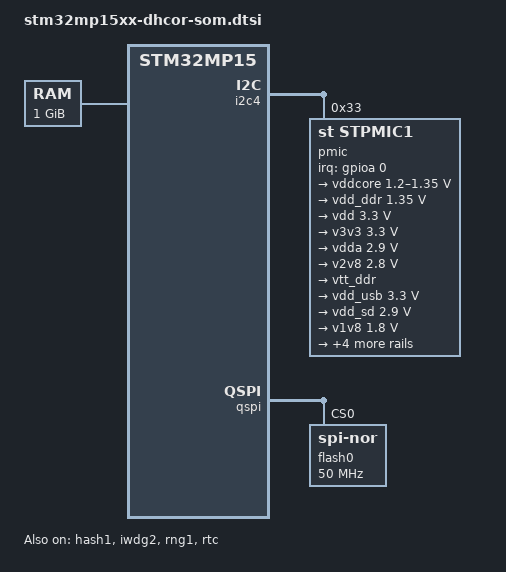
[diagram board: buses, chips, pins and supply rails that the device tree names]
// SPDX-License-Identifier: GPL-2.0 OR BSD-3-Clause
/*
 * Copyright (C) Linaro Ltd 2019 - All Rights Reserved
 * Author: Manivannan Sadhasivam <manivannan.sadhasivam@linaro.org>
 * Copyright (C) 2020 Marek Vasut <marex@denx.de>
 * Copyright (C) 2022 DH electronics GmbH
 * Copyright (C) 2023-2024, STMicroelectronics - All Rights Reserved
 */

#include "stm32mp15-pinctrl.dtsi"
#include "stm32mp15xxaa-pinctrl.dtsi"
#include <dt-bindings/clock/stm32mp1-clksrc.h>
#include "stm32mp15-ddr3-dhsom-2x4Gb-1066-binG.dtsi"

/ {
	memory@c0000000 {
		device_type = "memory";
		reg = <0xc0000000 0x40000000>;
	};
};

&cpu0 {
	cpu-supply = <&vddcore>;
};

&cpu1 {
	cpu-supply = <&vddcore>;
};

&hash1 {
	status = "okay";
};

&i2c4 {
	pinctrl-names = "default";
	pinctrl-0 = <&i2c4_pins_a>;
	i2c-scl-rising-time-ns = <185>;
	i2c-scl-falling-time-ns = <20>;
	status = "okay";

	pmic: stpmic@33 {
		compatible = "st,stpmic1";
		reg = <0x33>;
		interrupts-extended = <&gpioa 0 IRQ_TYPE_EDGE_FALLING>;
		interrupt-controller;
		#interrupt-cells = <2>;
		status = "okay";

		regulators {
			compatible = "st,stpmic1-regulators";
			ldo1-supply = <&v3v3>;
			ldo2-supply = <&v3v3>;
			ldo3-supply = <&vdd_ddr>;
			ldo5-supply = <&v3v3>;
			ldo6-supply = <&v3v3>;
			pwr_sw1-supply = <&bst_out>;
			pwr_sw2-supply = <&bst_out>;

			vddcore: buck1 {
				regulator-name = "vddcore";
				regulator-min-microvolt = <1200000>;
				regulator-max-microvolt = <1350000>;
				regulator-always-on;
				regulator-initial-mode = <0>;
				regulator-over-current-protection;
			};

			vdd_ddr: buck2 {
				regulator-name = "vdd_ddr";
				regulator-min-microvolt = <1350000>;
				regulator-max-microvolt = <1350000>;
				regulator-always-on;
				regulator-initial-mode = <0>;
				regulator-over-current-protection;
			};

			vdd: buck3 {
				regulator-name = "vdd";
				regulator-min-microvolt = <3300000>;
				regulator-max-microvolt = <3300000>;
				regulator-always-on;
				regulator-initial-mode = <0>;
				regulator-over-current-protection;
			};

			v3v3: buck4 {
				regulator-name = "v3v3";
				regulator-min-microvolt = <3300000>;
				regulator-max-microvolt = <3300000>;
				regulator-always-on;
				regulator-over-current-protection;
				regulator-initial-mode = <0>;
			};

			vdda: ldo1 {
				regulator-name = "vdda";
				regulator-min-microvolt = <2900000>;
				regulator-max-microvolt = <2900000>;
			};

			v2v8: ldo2 {
				regulator-name = "v2v8";
				regulator-min-microvolt = <2800000>;
				regulator-max-microvolt = <2800000>;
			};

			vtt_ddr: ldo3 {
				regulator-name = "vtt_ddr";
				regulator-always-on;
				regulator-over-current-protection;
				st,regulator-sink-source;
			};

			vdd_usb: ldo4 {
				regulator-name = "vdd_usb";
				regulator-min-microvolt = <3300000>;
				regulator-max-microvolt = <3300000>;
			};

			vdd_sd: ldo5 {
				regulator-name = "vdd_sd";
				regulator-min-microvolt = <2900000>;
				regulator-max-microvolt = <2900000>;
				regulator-boot-on;
			};

			v1v8: ldo6 {
				regulator-name = "v1v8";
				regulator-min-microvolt = <1800000>;
				regulator-max-microvolt = <1800000>;
				regulator-enable-ramp-delay = <300000>;
			};

			vref_ddr: vref_ddr {
				regulator-name = "vref_ddr";
				regulator-always-on;
			};

			bst_out: boost {
				regulator-name = "bst_out";
			};

			vbus_otg: pwr_sw1 {
				regulator-name = "vbus_otg";
				regulator-active-discharge = <1>;
			};

			vbus_sw: pwr_sw2 {
				regulator-name = "vbus_sw";
				regulator-active-discharge = <1>;
			};
		};
	};
};

&iwdg2 {
	timeout-sec = <32>;
	status = "okay";
};

&pwr_regulators {
	vdd-supply = <&vdd>;
	vdd_3v3_usbfs-supply = <&vdd_usb>;
};

&qspi {
	pinctrl-names = "default";
	pinctrl-0 = <&qspi_clk_pins_a
		     &qspi_bk1_pins_a
		     &qspi_cs1_pins_a>;
	reg = <0x58003000 0x1000>, <0x70000000 0x200000>;
	#address-cells = <1>;
	#size-cells = <0>;
	status = "okay";

	flash0: flash@0 {
		compatible = "jedec,spi-nor";
		reg = <0>;
		spi-rx-bus-width = <4>;
		spi-max-frequency = <50000000>;
		#address-cells = <1>;
		#size-cells = <1>;
	};
};

&rcc {
	st,clksrc = <
		CLK_MPU_PLL1P
		CLK_AXI_PLL2P
		CLK_MCU_PLL3P
		CLK_RTC_LSE
		CLK_MCO1_DISABLED
		CLK_MCO2_DISABLED
		CLK_CKPER_HSE
		CLK_FMC_ACLK
		CLK_QSPI_ACLK
		CLK_ETH_DISABLED
		CLK_SDMMC12_PLL4P
		CLK_DSI_DSIPLL
		CLK_STGEN_HSE
		CLK_USBPHY_HSE
		CLK_SPI2S1_PLL3Q
		CLK_SPI2S23_PLL3Q
		CLK_SPI45_HSI
		CLK_SPI6_HSI
		CLK_I2C46_HSI
		CLK_SDMMC3_PLL4P
		CLK_USBO_USBPHY
		CLK_ADC_CKPER
		CLK_CEC_LSE
		CLK_I2C12_HSI
		CLK_I2C35_HSI
		CLK_UART1_HSI
		CLK_UART24_HSI
		CLK_UART35_HSI
		CLK_UART6_HSI
		CLK_UART78_HSI
		CLK_SPDIF_PLL4P
		CLK_FDCAN_PLL4R
		CLK_SAI1_PLL3Q
		CLK_SAI2_PLL3Q
		CLK_SAI3_PLL3Q
		CLK_SAI4_PLL3Q
		CLK_RNG1_CSI
		CLK_RNG2_LSI
		CLK_LPTIM1_PCLK1
		CLK_LPTIM23_PCLK3
		CLK_LPTIM45_LSE
	>;

	st,clkdiv = <
		DIV(DIV_MPU, 1)
		DIV(DIV_AXI, 0)
		DIV(DIV_MCU, 0)
		DIV(DIV_APB1, 1)
		DIV(DIV_APB2, 1)
		DIV(DIV_APB3, 1)
		DIV(DIV_APB4, 1)
		DIV(DIV_APB5, 2)
		DIV(DIV_RTC, 23)
		DIV(DIV_MCO1, 0)
		DIV(DIV_MCO2, 0)
	>;

	st,pll_vco {
		pll2_vco_1066Mhz: pll2-vco-1066Mhz {
			src = <CLK_PLL12_HSE>;
			divmn = <2 65>;
			frac = <0x1400>;
		};

		pll3_vco_417Mhz: pll3-vco-417Mhz {
			src = <CLK_PLL3_HSE>;
			divmn = <1 33>;
			frac = <0x1a04>;
		};

		pll4_vco_594Mhz: pll4-vco-594Mhz {
			src = <CLK_PLL4_HSE>;
			divmn = <3 98>;
		};
	};

	/* VCO = 1066.0 MHz => P = 266 (AXI), Q = 533 (GPU), R = 533 (DDR) */
	pll2: st,pll@1 {
		compatible = "st,stm32mp1-pll";
		reg = <1>;

		st,pll = <&pll2_cfg1>;

		pll2_cfg1: pll2_cfg1 {
			st,pll_vco = <&pll2_vco_1066Mhz>;
			st,pll_div_pqr = <1 0 0>;
		};
	};

	/* VCO = 417.8 MHz => P = 209, Q = 24, R = 11 */
	pll3: st,pll@2 {
		compatible = "st,stm32mp1-pll";
		reg = <2>;

		st,pll = <&pll3_cfg1>;

		pll3_cfg1: pll3_cfg1 {
			st,pll_vco = <&pll3_vco_417Mhz>;
			st,pll_div_pqr = <1 16 36>;
		};
	};

	/* VCO = 600.0 MHz => P = 99, Q = 74, R = 99 */ /* @TOCHECK */
	/* VCO = 594.0 MHz => P = 99, Q = 74, R = 74 */
	pll4: st,pll@3 {
		compatible = "st,stm32mp1-pll";
		reg = <3>;

		st,pll = <&pll4_cfg1>;

		pll4_cfg1: pll4_cfg1 {
			st,pll_vco = <&pll4_vco_594Mhz>;
			st,pll_div_pqr = <5 7 7>;
		};
	};
};

&rng1 {
	status = "okay";
};

&rtc {
	status = "okay";
};
